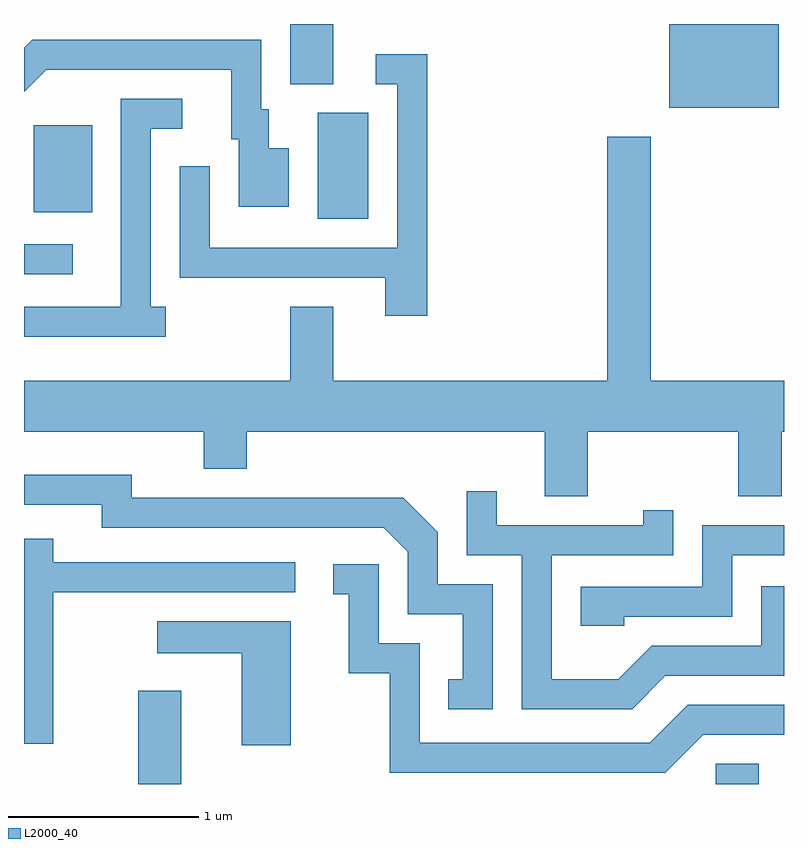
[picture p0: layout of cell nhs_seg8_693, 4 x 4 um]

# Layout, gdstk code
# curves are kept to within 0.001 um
import gdstk
lib = gdstk.Library(unit=1e-6, precision=1e-09)
def R(c, l, rs):  # rectangles x0, y0, x1, y1
    for r in rs: c.add(gdstk.rectangle(r[:2], r[2:], *l))
def P(c, l, *ps):  # polygons
    for p in ps: c.add(gdstk.Polygon(p, *l))
L2000_40 = (2000, 40)

nhs_seg8_693 = lib.new_cell('nhs_seg8_693')
R(nhs_seg8_693, L2000_40, [(206.211,1832.342,206.439,1832.834), (209.251,1832.342,209.479,1832.449), (205.611,1835.026,205.868,1835.184), (207.156,1835.316,207.424,1835.874), (205.661,1835.351,205.969,1835.809), (209.006,1835.901,209.584,1836.342), (207.011,1836.026,207.239,1836.342)])
P(nhs_seg8_693, L2000_40, [(207.004,1835.689),(206.899,1835.689),(206.899,1835.894),(206.859,1835.894),(206.859,1836.259),(205.654,1836.259),(205.611,1836.216),(205.611,1835.986),(205.727,1836.101),(206.701,1836.101),(206.701,1835.736),(206.741,1835.736),(206.741,1835.381),(207.004,1835.381)],
  [(207.734,1836.184),(207.463,1836.184),(207.463,1836.026),(207.576,1836.026),(207.576,1835.164),(206.589,1835.164),(206.589,1835.593),(206.431,1835.593),(206.431,1835.006),(207.511,1835.006),(207.511,1834.806),(207.734,1834.806)],
  [(206.358,1834.854),(206.279,1834.854),(206.279,1835.791),(206.443,1835.791),(206.443,1835.949),(206.121,1835.949),(206.121,1834.854),(205.611,1834.854),(205.611,1834.696),(206.358,1834.696)],
  [(208.579,1834.196),(209.371,1834.196),(209.371,1833.856),(209.599,1833.856),(209.599,1834.196),(209.611,1834.196),(209.611,1834.464),(208.909,1834.464),(208.909,1835.749),(208.681,1835.749),(208.681,1834.464),(207.239,1834.464),(207.239,1834.854),(207.011,1834.854),(207.011,1834.464),(205.611,1834.464),(205.611,1834.196),(206.556,1834.196),(206.556,1834.001),(206.784,1834.001),(206.784,1834.196),(208.351,1834.196),(208.351,1833.856),(208.579,1833.856)],
  [(208.079,1833.394),(207.789,1833.394),(207.789,1833.667),(207.607,1833.849),(206.179,1833.849),(206.179,1833.969),(205.611,1833.969),(205.611,1833.811),(206.021,1833.811),(206.021,1833.691),(207.504,1833.691),(207.631,1833.564),(207.631,1833.236),(207.921,1833.236),(207.921,1832.894),(207.843,1832.894),(207.843,1832.736),(208.079,1832.736)],
  [(208.987,1832.911),(209.611,1832.911),(209.611,1833.384),(209.491,1833.384),(209.491,1833.069),(208.914,1833.069),(208.739,1832.894),(208.389,1832.894),(208.389,1833.546),(209.029,1833.546),(209.029,1833.783),(208.871,1833.783),(208.871,1833.704),(208.099,1833.704),(208.099,1833.883),(207.941,1833.883),(207.941,1833.546),(208.231,1833.546),(208.231,1832.736),(208.812,1832.736)],
  [(208.769,1833.221),(209.339,1833.221),(209.339,1833.546),(209.611,1833.546),(209.611,1833.704),(209.181,1833.704),(209.181,1833.379),(208.541,1833.379),(208.541,1833.176),(208.769,1833.176)],
  [(205.764,1833.351),(207.038,1833.351),(207.038,1833.509),(205.764,1833.509),(205.764,1833.633),(205.611,1833.633),(205.611,1832.553),(205.764,1832.553)],
  [(209.187,1832.601),(209.611,1832.601),(209.611,1832.759),(209.104,1832.759),(208.904,1832.559),(207.694,1832.559),(207.694,1833.084),(207.479,1833.084),(207.479,1833.499),(207.238,1833.499),(207.238,1833.341),(207.321,1833.341),(207.321,1832.926),(207.536,1832.926),(207.536,1832.401),(208.987,1832.401)],
  [(207.014,1833.199),(206.313,1833.199),(206.313,1833.031),(206.756,1833.031),(206.756,1832.546),(207.014,1832.546)])

lib.write_gds('nhs_seg8_693.gds')
